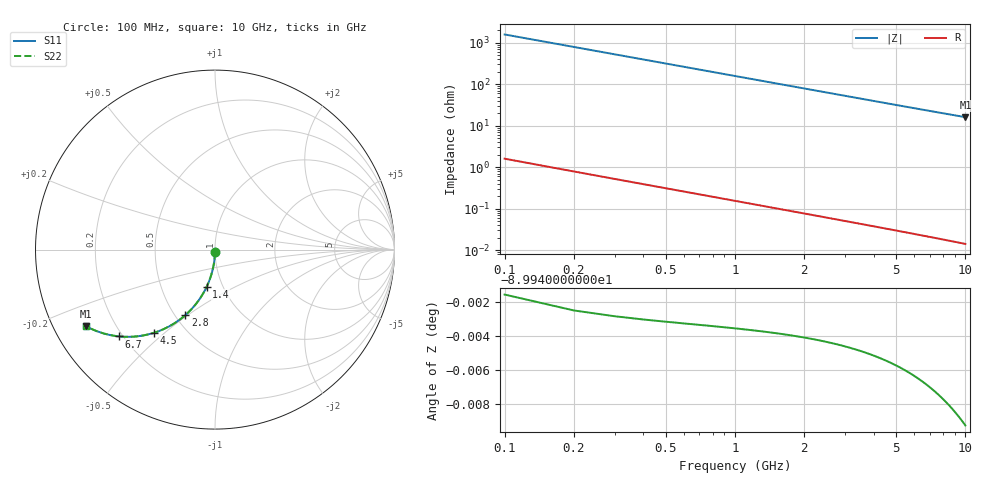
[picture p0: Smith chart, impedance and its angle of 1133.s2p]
# Hz S RI R 50.00
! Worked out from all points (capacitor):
!   100 points, 100 MHz to 10 GHz, reference 50 ohm
!   read as one part in shunt: C = 1.01 pF near 100 MHz
!   lowest |Z| = 16.1 ohm at 10 GHz (marker M1)
!   S11 on the Smith chart (normalised r, x): 100 MHz: 1.00, -0.03; 1.4 GHz: 0.84, -0.37; 2.8 GHz: 0.56, -0.49; 4.5 GHz: 0.33, -0.46; 6.7 GHz: 0.19, -0.37; 10 GHz: 0.10, -0.27
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1e8  -0.000202 -0.0156  0.9997 -0.0161  0.9997 -0.0161  -0.000202 -0.0156
2e8  -0.000972 -0.0313  0.9989 -0.0321  0.9989 -0.0321  -0.000972 -0.0313
3e8  -0.00224 -0.0469  0.9976 -0.0481  0.9976 -0.0481  -0.00224 -0.0469
4e8  -0.00401 -0.0624  0.9959 -0.0641  0.9959 -0.0641  -0.00401 -0.0624
5e8  -0.00627 -0.0778  0.9936 -0.0799  0.9936 -0.0799  -0.00627 -0.0778
6e8  -0.00901 -0.0931  0.9909 -0.0956  0.9909 -0.0956  -0.00901 -0.0931
7e8  -0.0122 -0.1082  0.9876 -0.1112  0.9876 -0.1112  -0.0122 -0.1082
9e8  -0.0201 -0.138  0.9798 -0.1419  0.9798 -0.1419  -0.0201 -0.138
1.1e9  -0.0297 -0.167  0.9702 -0.1718  0.9702 -0.1718  -0.0297 -0.167
1.4e9  -0.0472 -0.2087  0.9527 -0.2147  0.9527 -0.2147  -0.0472 -0.2087
1.8e9  -0.0757 -0.2602  0.9242 -0.268  0.9242 -0.268  -0.0757 -0.2602
2.3e9  -0.1179 -0.3172  0.8819 -0.3271  0.8819 -0.3271  -0.1179 -0.3172
2.8e9  -0.1654 -0.3651  0.8343 -0.3772  0.8343 -0.3772  -0.1654 -0.3651
3.4e9  -0.2263 -0.4107  0.7734 -0.4254  0.7734 -0.4254  -0.2263 -0.4107
3.9e9  -0.2781 -0.4392  0.7216 -0.4561  0.7216 -0.4561  -0.2781 -0.4392
4.5e9  -0.3393 -0.4632  0.6604 -0.4828  0.6604 -0.4828  -0.3393 -0.4632
5.1e9  -0.3977 -0.4778  0.6019 -0.5001  0.6019 -0.5001  -0.3977 -0.4778
5.9e9  -0.4697 -0.4857  0.5299 -0.5115  0.5299 -0.5115  -0.4697 -0.4857
6.7e9  -0.5337 -0.4836  0.4657 -0.513  0.4657 -0.513  -0.5337 -0.4836
7.5e9  -0.5898 -0.4748  0.4095 -0.5078  0.4095 -0.5078  -0.5898 -0.4748
8.4e9  -0.644 -0.4596  0.3551 -0.4968  0.3551 -0.4968  -0.644 -0.4596
1e10  -0.7206 -0.4256  0.2782 -0.4702  0.2782 -0.4702  -0.7206 -0.4256
